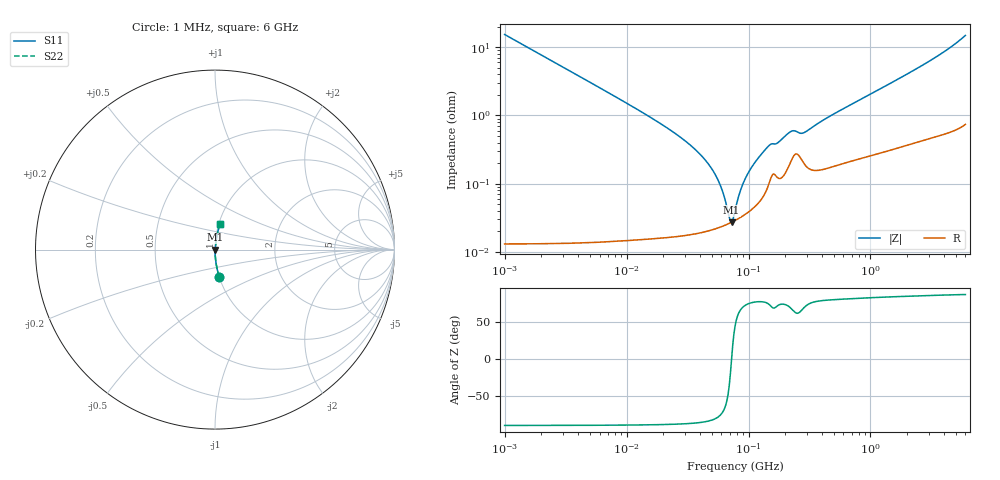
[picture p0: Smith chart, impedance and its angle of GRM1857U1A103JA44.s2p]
!Murata Part Number: GRM1857U1A103JA44
!These Parameters are Measured in Series Mode Connection
!Data Generated on Mar 30, 2021
!  o--ll--o
!Port1  Port2
!  o------o
!Operation Temp=25[degC], DC Bias Voltage=0[V]
!Freq. Start=1000[kHz] Stop=6[GHz] 401[Steps]
# Hz S RI R 50
!Freq.(Hz) S11(Real) S11(Imag) S21(Real) S21(Imag) S12(Real) S12(Imag) S22(Real) S22(Imag)
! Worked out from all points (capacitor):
!   401 points, 1 MHz to 6 GHz, reference 50 ohm
!   read as one part in series: C = 10.3 nF near 1.044 MHz
!   lowest |Z| = 27 mohm at 72.57 MHz (marker M1)
!   series resonance near 72.62 MHz, so ESL is about 470 pH
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1000000  0.0235 -0.151  0.9765 0.151  0.9765 0.151  0.0235 -0.151
4293785  0.00142 -0.0358  0.9986 0.0358  0.9986 0.0358  0.00142 -0.0358
1.843659e7  0.000218 -0.00784  0.9998 0.00784  0.9998 0.00784  0.000218 -0.00784
3.245342e7  0.00019 -0.00381  0.9998 0.00381  0.9998 0.00381  0.00019 -0.00381
4.697123e7  0.000205 -0.00192  0.9998 0.00192  0.9998 0.00192  0.000205 -0.00192
5.838291e7  0.000229 -0.000939  0.9998 0.000939  0.9998 0.000939  0.000229 -0.000939
6.23192e7  0.000239 -0.000656  0.9998 0.000656  0.9998 0.000656  0.000239 -0.000656
6.947823e7  0.00026 -0.000189  0.9997 0.000189  0.9997 0.000189  0.00026 -0.000189
7.256705e7  0.000269 -2.9e-06  0.9997 2.9e-06  0.9997 2.9e-06  0.000269 -2.9e-06
7.745967e7  0.000286 0.000277  0.9997 -0.000277  0.9997 -0.000277  0.000286 0.000277
8.635799e7  0.00032 0.000749  0.9997 -0.000749  0.9997 -0.000749  0.00032 0.000749
9.627852e7  0.000365 0.00123  0.9996 -0.00123  0.9996 -0.00123  0.000365 0.00123
1.121107e8  0.000457 0.00196  0.9995 -0.00196  0.9995 -0.00196  0.000457 0.00196
1.39348e8  0.000783 0.00316  0.9992 -0.00316  0.9992 -0.00316  0.000783 0.00316
1.520136e8  0.00119 0.00358  0.9988 -0.00358  0.9988 -0.00358  0.00119 0.00358
1.732027e8  0.00123 0.00375  0.9988 -0.00375  0.9988 -0.00375  0.00123 0.00375
2.248532e8  0.00222 0.00541  0.9978 -0.00541  0.9978 -0.00541  0.00222 0.00541
2.794814e8  0.00209 0.00509  0.9979 -0.00509  0.9979 -0.00509  0.00209 0.00509
3.325952e8  0.00162 0.00648  0.9984 -0.00648  0.9984 -0.00648  0.00162 0.00648
1.428092e9  0.00387 0.0287  0.9961 -0.0287  0.9961 -0.0287  0.00387 0.0287
3.408564e9  0.00978 0.0701  0.9902 -0.0701  0.9902 -0.0701  0.00978 0.0701
6e9  0.0288 0.1443  0.9712 -0.1443  0.9712 -0.1443  0.0288 0.1443
